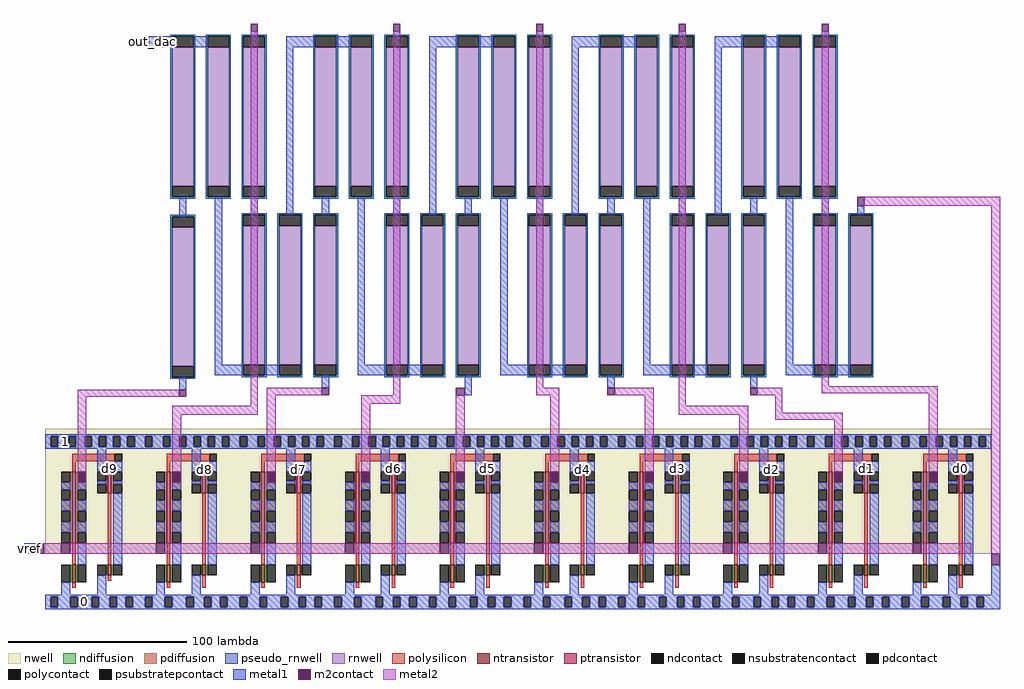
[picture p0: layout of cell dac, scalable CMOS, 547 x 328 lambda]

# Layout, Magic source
magic
tech scmos
<< nwell >>
rect -70 -199 460 -129
<< ntransistor >>
rect -55 -215 -53 -205
rect -35 -211 -33 -205
rect -2 -215 0 -205
rect 18 -211 20 -205
rect 51 -215 53 -205
rect 71 -211 73 -205
rect 104 -215 106 -205
rect 124 -211 126 -205
rect 157 -215 159 -205
rect 177 -211 179 -205
rect 210 -215 212 -205
rect 230 -211 232 -205
rect 263 -215 265 -205
rect 283 -211 285 -205
rect 316 -215 318 -205
rect 336 -211 338 -205
rect 369 -215 371 -205
rect 389 -211 391 -205
rect 422 -215 424 -205
rect 442 -211 444 -205
<< ptransistor >>
rect -55 -193 -53 -153
rect -35 -165 -33 -153
rect -2 -193 0 -153
rect 18 -165 20 -153
rect 51 -193 53 -153
rect 71 -165 73 -153
rect 104 -193 106 -153
rect 124 -165 126 -153
rect 157 -193 159 -153
rect 177 -165 179 -153
rect 210 -193 212 -153
rect 230 -165 232 -153
rect 263 -193 265 -153
rect 283 -165 285 -153
rect 316 -193 318 -153
rect 336 -165 338 -153
rect 369 -193 371 -153
rect 389 -165 391 -153
rect 422 -193 424 -153
rect 442 -165 444 -153
<< ndiffusion >>
rect -56 -215 -55 -205
rect -53 -215 -52 -205
rect -36 -211 -35 -205
rect -33 -211 -32 -205
rect -3 -215 -2 -205
rect 0 -215 1 -205
rect 17 -211 18 -205
rect 20 -211 21 -205
rect 50 -215 51 -205
rect 53 -215 54 -205
rect 70 -211 71 -205
rect 73 -211 74 -205
rect 103 -215 104 -205
rect 106 -215 107 -205
rect 123 -211 124 -205
rect 126 -211 127 -205
rect 156 -215 157 -205
rect 159 -215 160 -205
rect 176 -211 177 -205
rect 179 -211 180 -205
rect 209 -215 210 -205
rect 212 -215 213 -205
rect 229 -211 230 -205
rect 232 -211 233 -205
rect 262 -215 263 -205
rect 265 -215 266 -205
rect 282 -211 283 -205
rect 285 -211 286 -205
rect 315 -215 316 -205
rect 318 -215 319 -205
rect 335 -211 336 -205
rect 338 -211 339 -205
rect 368 -215 369 -205
rect 371 -215 372 -205
rect 388 -211 389 -205
rect 391 -211 392 -205
rect 421 -215 422 -205
rect 424 -215 425 -205
rect 441 -211 442 -205
rect 444 -211 445 -205
<< pdiffusion >>
rect -56 -159 -55 -153
rect -61 -163 -55 -159
rect -56 -169 -55 -163
rect -61 -175 -55 -169
rect -56 -181 -55 -175
rect -61 -187 -55 -181
rect -56 -193 -55 -187
rect -53 -159 -52 -153
rect -53 -163 -47 -159
rect -53 -169 -52 -163
rect -36 -158 -35 -153
rect -41 -160 -35 -158
rect -36 -165 -35 -160
rect -33 -158 -32 -153
rect -33 -160 -27 -158
rect -33 -165 -32 -160
rect -3 -159 -2 -153
rect -8 -163 -2 -159
rect -53 -175 -47 -169
rect -53 -181 -52 -175
rect -53 -187 -47 -181
rect -53 -193 -52 -187
rect -3 -169 -2 -163
rect -8 -175 -2 -169
rect -3 -181 -2 -175
rect -8 -187 -2 -181
rect -3 -193 -2 -187
rect 0 -159 1 -153
rect 0 -163 6 -159
rect 0 -169 1 -163
rect 17 -158 18 -153
rect 12 -160 18 -158
rect 17 -165 18 -160
rect 20 -158 21 -153
rect 20 -160 26 -158
rect 20 -165 21 -160
rect 50 -159 51 -153
rect 45 -163 51 -159
rect 0 -175 6 -169
rect 0 -181 1 -175
rect 0 -187 6 -181
rect 0 -193 1 -187
rect 50 -169 51 -163
rect 45 -175 51 -169
rect 50 -181 51 -175
rect 45 -187 51 -181
rect 50 -193 51 -187
rect 53 -159 54 -153
rect 53 -163 59 -159
rect 53 -169 54 -163
rect 70 -158 71 -153
rect 65 -160 71 -158
rect 70 -165 71 -160
rect 73 -158 74 -153
rect 73 -160 79 -158
rect 73 -165 74 -160
rect 103 -159 104 -153
rect 98 -163 104 -159
rect 53 -175 59 -169
rect 53 -181 54 -175
rect 53 -187 59 -181
rect 53 -193 54 -187
rect 103 -169 104 -163
rect 98 -175 104 -169
rect 103 -181 104 -175
rect 98 -187 104 -181
rect 103 -193 104 -187
rect 106 -159 107 -153
rect 106 -163 112 -159
rect 106 -169 107 -163
rect 123 -158 124 -153
rect 118 -160 124 -158
rect 123 -165 124 -160
rect 126 -158 127 -153
rect 126 -160 132 -158
rect 126 -165 127 -160
rect 156 -159 157 -153
rect 151 -163 157 -159
rect 106 -175 112 -169
rect 106 -181 107 -175
rect 106 -187 112 -181
rect 106 -193 107 -187
rect 156 -169 157 -163
rect 151 -175 157 -169
rect 156 -181 157 -175
rect 151 -187 157 -181
rect 156 -193 157 -187
rect 159 -159 160 -153
rect 159 -163 165 -159
rect 159 -169 160 -163
rect 176 -158 177 -153
rect 171 -160 177 -158
rect 176 -165 177 -160
rect 179 -158 180 -153
rect 179 -160 185 -158
rect 179 -165 180 -160
rect 209 -159 210 -153
rect 204 -163 210 -159
rect 159 -175 165 -169
rect 159 -181 160 -175
rect 159 -187 165 -181
rect 159 -193 160 -187
rect 209 -169 210 -163
rect 204 -175 210 -169
rect 209 -181 210 -175
rect 204 -187 210 -181
rect 209 -193 210 -187
rect 212 -159 213 -153
rect 212 -163 218 -159
rect 212 -169 213 -163
rect 229 -158 230 -153
rect 224 -160 230 -158
rect 229 -165 230 -160
rect 232 -158 233 -153
rect 232 -160 238 -158
rect 232 -165 233 -160
rect 262 -159 263 -153
rect 257 -163 263 -159
rect 212 -175 218 -169
rect 212 -181 213 -175
rect 212 -187 218 -181
rect 212 -193 213 -187
rect 262 -169 263 -163
rect 257 -175 263 -169
rect 262 -181 263 -175
rect 257 -187 263 -181
rect 262 -193 263 -187
rect 265 -159 266 -153
rect 265 -163 271 -159
rect 265 -169 266 -163
rect 282 -158 283 -153
rect 277 -160 283 -158
rect 282 -165 283 -160
rect 285 -158 286 -153
rect 285 -160 291 -158
rect 285 -165 286 -160
rect 315 -159 316 -153
rect 310 -163 316 -159
rect 265 -175 271 -169
rect 265 -181 266 -175
rect 265 -187 271 -181
rect 265 -193 266 -187
rect 315 -169 316 -163
rect 310 -175 316 -169
rect 315 -181 316 -175
rect 310 -187 316 -181
rect 315 -193 316 -187
rect 318 -159 319 -153
rect 318 -163 324 -159
rect 318 -169 319 -163
rect 335 -158 336 -153
rect 330 -160 336 -158
rect 335 -165 336 -160
rect 338 -158 339 -153
rect 338 -160 344 -158
rect 338 -165 339 -160
rect 368 -159 369 -153
rect 363 -163 369 -159
rect 318 -175 324 -169
rect 318 -181 319 -175
rect 318 -187 324 -181
rect 318 -193 319 -187
rect 368 -169 369 -163
rect 363 -175 369 -169
rect 368 -181 369 -175
rect 363 -187 369 -181
rect 368 -193 369 -187
rect 371 -159 372 -153
rect 371 -163 377 -159
rect 371 -169 372 -163
rect 388 -158 389 -153
rect 383 -160 389 -158
rect 388 -165 389 -160
rect 391 -158 392 -153
rect 391 -160 397 -158
rect 391 -165 392 -160
rect 421 -159 422 -153
rect 416 -163 422 -159
rect 371 -175 377 -169
rect 371 -181 372 -175
rect 371 -187 377 -181
rect 371 -193 372 -187
rect 421 -169 422 -163
rect 416 -175 422 -169
rect 421 -181 422 -175
rect 416 -187 422 -181
rect 421 -193 422 -187
rect 424 -159 425 -153
rect 424 -163 430 -159
rect 424 -169 425 -163
rect 441 -158 442 -153
rect 436 -160 442 -158
rect 441 -165 442 -160
rect 444 -158 445 -153
rect 444 -160 450 -158
rect 444 -165 445 -160
rect 424 -175 430 -169
rect 424 -181 425 -175
rect 424 -187 430 -181
rect 424 -193 425 -187
<< ndcontact >>
rect -61 -215 -56 -205
rect -52 -215 -47 -205
rect -41 -211 -36 -205
rect -32 -211 -27 -205
rect -8 -215 -3 -205
rect 1 -215 6 -205
rect 12 -211 17 -205
rect 21 -211 26 -205
rect 45 -215 50 -205
rect 54 -215 59 -205
rect 65 -211 70 -205
rect 74 -211 79 -205
rect 98 -215 103 -205
rect 107 -215 112 -205
rect 118 -211 123 -205
rect 127 -211 132 -205
rect 151 -215 156 -205
rect 160 -215 165 -205
rect 171 -211 176 -205
rect 180 -211 185 -205
rect 204 -215 209 -205
rect 213 -215 218 -205
rect 224 -211 229 -205
rect 233 -211 238 -205
rect 257 -215 262 -205
rect 266 -215 271 -205
rect 277 -211 282 -205
rect 286 -211 291 -205
rect 310 -215 315 -205
rect 319 -215 324 -205
rect 330 -211 335 -205
rect 339 -211 344 -205
rect 363 -215 368 -205
rect 372 -215 377 -205
rect 383 -211 388 -205
rect 392 -211 397 -205
rect 416 -215 421 -205
rect 425 -215 430 -205
rect 436 -211 441 -205
rect 445 -211 450 -205
<< pdcontact >>
rect -61 -159 -56 -153
rect -61 -169 -56 -163
rect -61 -181 -56 -175
rect -61 -193 -56 -187
rect -52 -159 -47 -153
rect -52 -169 -47 -163
rect -41 -158 -36 -153
rect -41 -165 -36 -160
rect -32 -158 -27 -153
rect -32 -165 -27 -160
rect -8 -159 -3 -153
rect -52 -181 -47 -175
rect -52 -193 -47 -187
rect -8 -169 -3 -163
rect -8 -181 -3 -175
rect -8 -193 -3 -187
rect 1 -159 6 -153
rect 1 -169 6 -163
rect 12 -158 17 -153
rect 12 -165 17 -160
rect 21 -158 26 -153
rect 21 -165 26 -160
rect 45 -159 50 -153
rect 1 -181 6 -175
rect 1 -193 6 -187
rect 45 -169 50 -163
rect 45 -181 50 -175
rect 45 -193 50 -187
rect 54 -159 59 -153
rect 54 -169 59 -163
rect 65 -158 70 -153
rect 65 -165 70 -160
rect 74 -158 79 -153
rect 74 -165 79 -160
rect 98 -159 103 -153
rect 54 -181 59 -175
rect 54 -193 59 -187
rect 98 -169 103 -163
rect 98 -181 103 -175
rect 98 -193 103 -187
rect 107 -159 112 -153
rect 107 -169 112 -163
rect 118 -158 123 -153
rect 118 -165 123 -160
rect 127 -158 132 -153
rect 127 -165 132 -160
rect 151 -159 156 -153
rect 107 -181 112 -175
rect 107 -193 112 -187
rect 151 -169 156 -163
rect 151 -181 156 -175
rect 151 -193 156 -187
rect 160 -159 165 -153
rect 160 -169 165 -163
rect 171 -158 176 -153
rect 171 -165 176 -160
rect 180 -158 185 -153
rect 180 -165 185 -160
rect 204 -159 209 -153
rect 160 -181 165 -175
rect 160 -193 165 -187
rect 204 -169 209 -163
rect 204 -181 209 -175
rect 204 -193 209 -187
rect 213 -159 218 -153
rect 213 -169 218 -163
rect 224 -158 229 -153
rect 224 -165 229 -160
rect 233 -158 238 -153
rect 233 -165 238 -160
rect 257 -159 262 -153
rect 213 -181 218 -175
rect 213 -193 218 -187
rect 257 -169 262 -163
rect 257 -181 262 -175
rect 257 -193 262 -187
rect 266 -159 271 -153
rect 266 -169 271 -163
rect 277 -158 282 -153
rect 277 -165 282 -160
rect 286 -158 291 -153
rect 286 -165 291 -160
rect 310 -159 315 -153
rect 266 -181 271 -175
rect 266 -193 271 -187
rect 310 -169 315 -163
rect 310 -181 315 -175
rect 310 -193 315 -187
rect 319 -159 324 -153
rect 319 -169 324 -163
rect 330 -158 335 -153
rect 330 -165 335 -160
rect 339 -158 344 -153
rect 339 -165 344 -160
rect 363 -159 368 -153
rect 319 -181 324 -175
rect 319 -193 324 -187
rect 363 -169 368 -163
rect 363 -181 368 -175
rect 363 -193 368 -187
rect 372 -159 377 -153
rect 372 -169 377 -163
rect 383 -158 388 -153
rect 383 -165 388 -160
rect 392 -158 397 -153
rect 392 -165 397 -160
rect 416 -159 421 -153
rect 372 -181 377 -175
rect 372 -193 377 -187
rect 416 -169 421 -163
rect 416 -181 421 -175
rect 416 -193 421 -187
rect 425 -159 430 -153
rect 425 -169 430 -163
rect 436 -158 441 -153
rect 436 -165 441 -160
rect 445 -158 450 -153
rect 445 -165 450 -160
rect 425 -181 430 -175
rect 425 -193 430 -187
<< psubstratepcontact >>
rect -67 -229 -63 -223
rect -56 -229 -52 -223
rect -44 -229 -40 -223
rect -34 -229 -30 -223
rect -25 -229 -21 -223
rect -14 -229 -10 -223
rect -3 -229 1 -223
rect 9 -229 13 -223
rect 19 -229 23 -223
rect 28 -229 32 -223
rect 39 -229 43 -223
rect 50 -229 54 -223
rect 62 -229 66 -223
rect 72 -229 76 -223
rect 81 -229 85 -223
rect 92 -229 96 -223
rect 103 -229 107 -223
rect 115 -229 119 -223
rect 125 -229 129 -223
rect 134 -229 138 -223
rect 145 -229 149 -223
rect 156 -229 160 -223
rect 168 -229 172 -223
rect 178 -229 182 -223
rect 187 -229 191 -223
rect 198 -229 202 -223
rect 209 -229 213 -223
rect 221 -229 225 -223
rect 231 -229 235 -223
rect 240 -229 244 -223
rect 251 -229 255 -223
rect 262 -229 266 -223
rect 274 -229 278 -223
rect 284 -229 288 -223
rect 293 -229 297 -223
rect 304 -229 308 -223
rect 315 -229 319 -223
rect 327 -229 331 -223
rect 337 -229 341 -223
rect 346 -229 350 -223
rect 357 -229 361 -223
rect 368 -229 372 -223
rect 380 -229 384 -223
rect 390 -229 394 -223
rect 399 -229 403 -223
rect 410 -229 414 -223
rect 421 -229 425 -223
rect 433 -229 437 -223
rect 443 -229 447 -223
rect 452 -229 456 -223
<< nsubstratencontact >>
rect 1 85 13 91
rect 1 1 13 7
rect 21 85 33 91
rect 21 1 33 7
rect 41 85 53 91
rect 41 1 53 7
rect 81 85 93 91
rect 81 1 93 7
rect 101 85 113 91
rect 101 1 113 7
rect 121 85 133 91
rect 121 1 133 7
rect 161 85 173 91
rect 161 1 173 7
rect 181 85 193 91
rect 181 1 193 7
rect 201 85 213 91
rect 201 1 213 7
rect 241 85 253 91
rect 241 1 253 7
rect 261 85 273 91
rect 261 1 273 7
rect 281 85 293 91
rect 281 1 293 7
rect 321 85 333 91
rect 321 1 333 7
rect 341 85 353 91
rect 341 1 353 7
rect 361 85 373 91
rect 361 1 373 7
rect 1 -16 13 -10
rect 1 -100 13 -94
rect 41 -15 53 -9
rect 41 -99 53 -93
rect 61 -15 73 -9
rect 61 -99 73 -93
rect 81 -15 93 -9
rect 81 -99 93 -93
rect 121 -15 133 -9
rect 121 -99 133 -93
rect 141 -15 153 -9
rect 141 -99 153 -93
rect 161 -15 173 -9
rect 161 -99 173 -93
rect 201 -15 213 -9
rect 201 -99 213 -93
rect 221 -15 233 -9
rect 221 -99 233 -93
rect 241 -15 253 -9
rect 241 -99 253 -93
rect 281 -15 293 -9
rect 281 -99 293 -93
rect 301 -15 313 -9
rect 301 -99 313 -93
rect 321 -15 333 -9
rect 321 -99 333 -93
rect 361 -15 373 -9
rect 361 -99 373 -93
rect 381 -15 393 -9
rect 381 -99 393 -93
rect -67 -139 -63 -133
rect -57 -139 -53 -133
rect -48 -139 -44 -133
rect -40 -139 -36 -133
rect -32 -139 -28 -133
rect -24 -139 -20 -133
rect -14 -139 -10 -133
rect -4 -139 0 -133
rect 5 -139 9 -133
rect 13 -139 17 -133
rect 21 -139 25 -133
rect 29 -139 33 -133
rect 39 -139 43 -133
rect 49 -139 53 -133
rect 58 -139 62 -133
rect 66 -139 70 -133
rect 74 -139 78 -133
rect 82 -139 86 -133
rect 92 -139 96 -133
rect 102 -139 106 -133
rect 111 -139 115 -133
rect 119 -139 123 -133
rect 127 -139 131 -133
rect 135 -139 139 -133
rect 145 -139 149 -133
rect 155 -139 159 -133
rect 164 -139 168 -133
rect 172 -139 176 -133
rect 180 -139 184 -133
rect 188 -139 192 -133
rect 198 -139 202 -133
rect 208 -139 212 -133
rect 217 -139 221 -133
rect 225 -139 229 -133
rect 233 -139 237 -133
rect 241 -139 245 -133
rect 251 -139 255 -133
rect 261 -139 265 -133
rect 270 -139 274 -133
rect 278 -139 282 -133
rect 286 -139 290 -133
rect 294 -139 298 -133
rect 304 -139 308 -133
rect 314 -139 318 -133
rect 323 -139 327 -133
rect 331 -139 335 -133
rect 339 -139 343 -133
rect 347 -139 351 -133
rect 357 -139 361 -133
rect 367 -139 371 -133
rect 376 -139 380 -133
rect 384 -139 388 -133
rect 392 -139 396 -133
rect 400 -139 404 -133
rect 410 -139 414 -133
rect 420 -139 424 -133
rect 429 -139 433 -133
rect 437 -139 441 -133
rect 445 -139 449 -133
rect 453 -139 457 -133
<< polysilicon >>
rect -55 -147 -31 -143
rect -2 -147 22 -143
rect 51 -147 75 -143
rect 104 -147 128 -143
rect 157 -147 181 -143
rect 210 -147 234 -143
rect 263 -147 287 -143
rect 316 -147 340 -143
rect 369 -147 393 -143
rect 422 -147 446 -143
rect -55 -153 -53 -147
rect -35 -153 -33 -150
rect -2 -153 0 -147
rect 18 -153 20 -150
rect 51 -153 53 -147
rect 71 -153 73 -150
rect 104 -153 106 -147
rect 124 -153 126 -150
rect 157 -153 159 -147
rect 177 -153 179 -150
rect 210 -153 212 -147
rect 230 -153 232 -150
rect 263 -153 265 -147
rect 283 -153 285 -150
rect 316 -153 318 -147
rect 336 -153 338 -150
rect 369 -153 371 -147
rect 389 -153 391 -150
rect 422 -153 424 -147
rect 442 -153 444 -150
rect -55 -205 -53 -193
rect -35 -205 -33 -165
rect -2 -205 0 -193
rect 18 -205 20 -165
rect 51 -205 53 -193
rect 71 -205 73 -165
rect 104 -205 106 -193
rect 124 -205 126 -165
rect 157 -205 159 -193
rect 177 -205 179 -165
rect 210 -205 212 -193
rect 230 -205 232 -165
rect 263 -205 265 -193
rect 283 -205 285 -165
rect 316 -205 318 -193
rect 336 -205 338 -165
rect 369 -205 371 -193
rect 389 -205 391 -165
rect 422 -205 424 -193
rect 442 -205 444 -165
rect -35 -214 -33 -211
rect -55 -218 -53 -215
rect -2 -218 0 -215
rect 18 -218 20 -211
rect 51 -218 53 -215
rect 71 -218 73 -211
rect 104 -218 106 -215
rect 124 -218 126 -211
rect 157 -218 159 -215
rect 177 -218 179 -211
rect 210 -218 212 -215
rect 230 -218 232 -211
rect 263 -218 265 -215
rect 283 -218 285 -211
rect 316 -218 318 -215
rect 336 -218 338 -211
rect 369 -218 371 -215
rect 389 -218 391 -211
rect 422 -218 424 -215
rect 442 -218 444 -211
<< polycontact >>
rect -31 -147 -27 -143
rect 22 -147 26 -143
rect 75 -147 79 -143
rect 128 -147 132 -143
rect 181 -147 185 -143
rect 234 -147 238 -143
rect 287 -147 291 -143
rect 340 -147 344 -143
rect 393 -147 397 -143
rect 446 -147 450 -143
<< metal1 >>
rect 45 91 49 94
rect 125 91 129 94
rect 205 91 209 94
rect 285 91 289 94
rect 365 91 369 94
rect -12 85 1 91
rect 13 85 21 91
rect 65 85 81 91
rect 93 85 101 91
rect 145 85 161 91
rect 173 85 181 91
rect 225 85 241 91
rect 253 85 261 91
rect 305 85 321 91
rect 333 85 341 91
rect 5 -10 9 1
rect 25 -93 29 1
rect 45 -9 49 1
rect 65 -9 69 85
rect 85 -9 89 1
rect 105 -93 109 1
rect 125 -9 129 1
rect 145 -9 149 85
rect 165 -9 169 1
rect 185 -93 189 1
rect 205 -9 209 1
rect 225 -9 229 85
rect 245 -9 249 1
rect 265 -93 269 1
rect 285 -9 289 1
rect 305 -9 309 85
rect 325 -9 329 1
rect 345 -93 349 1
rect 365 -9 369 1
rect 385 -9 389 -4
rect 25 -99 41 -93
rect 53 -99 61 -93
rect 105 -99 121 -93
rect 133 -99 141 -93
rect 185 -99 201 -93
rect 213 -99 221 -93
rect 265 -99 281 -93
rect 293 -99 301 -93
rect 345 -99 361 -93
rect 373 -99 381 -93
rect 5 -107 9 -100
rect 85 -106 89 -99
rect 165 -110 169 -99
rect 245 -106 249 -99
rect 325 -106 329 -99
rect -70 -133 460 -132
rect -70 -139 -67 -133
rect -63 -139 -57 -133
rect -53 -139 -48 -133
rect -44 -139 -40 -133
rect -36 -139 -32 -133
rect -28 -139 -24 -133
rect -20 -139 -14 -133
rect -10 -139 -4 -133
rect 0 -139 5 -133
rect 9 -139 13 -133
rect 17 -139 21 -133
rect 25 -139 29 -133
rect 33 -139 39 -133
rect 43 -139 49 -133
rect 53 -139 58 -133
rect 62 -139 66 -133
rect 70 -139 74 -133
rect 78 -139 82 -133
rect 86 -139 92 -133
rect 96 -139 102 -133
rect 106 -139 111 -133
rect 115 -139 119 -133
rect 123 -139 127 -133
rect 131 -139 135 -133
rect 139 -139 145 -133
rect 149 -139 155 -133
rect 159 -139 164 -133
rect 168 -139 172 -133
rect 176 -139 180 -133
rect 184 -139 188 -133
rect 192 -139 198 -133
rect 202 -139 208 -133
rect 212 -139 217 -133
rect 221 -139 225 -133
rect 229 -139 233 -133
rect 237 -139 241 -133
rect 245 -139 251 -133
rect 255 -139 261 -133
rect 265 -139 270 -133
rect 274 -139 278 -133
rect 282 -139 286 -133
rect 290 -139 294 -133
rect 298 -139 304 -133
rect 308 -139 314 -133
rect 318 -139 323 -133
rect 327 -139 331 -133
rect 335 -139 339 -133
rect 343 -139 347 -133
rect 351 -139 357 -133
rect 361 -139 367 -133
rect 371 -139 376 -133
rect 380 -139 384 -133
rect 388 -139 392 -133
rect 396 -139 400 -133
rect 404 -139 410 -133
rect 414 -139 420 -133
rect 424 -139 429 -133
rect 433 -139 437 -133
rect 441 -139 445 -133
rect 449 -139 453 -133
rect 457 -139 460 -133
rect -70 -140 460 -139
rect -41 -153 -36 -140
rect -31 -153 -27 -147
rect 12 -153 17 -140
rect 22 -153 26 -147
rect 65 -153 70 -140
rect 75 -153 79 -147
rect 118 -153 123 -140
rect 128 -153 132 -147
rect 171 -153 176 -140
rect 181 -153 185 -147
rect 224 -153 229 -140
rect 234 -153 238 -147
rect 277 -153 282 -140
rect 287 -153 291 -147
rect 330 -153 335 -140
rect 340 -153 344 -147
rect 383 -153 388 -140
rect 393 -153 397 -147
rect 436 -153 441 -140
rect 446 -153 450 -147
rect -61 -163 -56 -159
rect -61 -175 -56 -169
rect -61 -187 -56 -181
rect -82 -199 -76 -193
rect -52 -163 -47 -159
rect -41 -160 -36 -158
rect -32 -160 -27 -158
rect -52 -175 -47 -169
rect -52 -187 -47 -181
rect -52 -205 -47 -193
rect -32 -205 -27 -165
rect -8 -163 -3 -159
rect -8 -175 -3 -169
rect -8 -187 -3 -181
rect 1 -163 6 -159
rect 12 -160 17 -158
rect 21 -160 26 -158
rect 1 -175 6 -169
rect 1 -187 6 -181
rect 1 -205 6 -193
rect 21 -205 26 -165
rect 45 -163 50 -159
rect 45 -175 50 -169
rect 45 -187 50 -181
rect 54 -163 59 -159
rect 65 -160 70 -158
rect 74 -160 79 -158
rect 54 -175 59 -169
rect 54 -187 59 -181
rect 54 -205 59 -193
rect 74 -205 79 -165
rect 98 -163 103 -159
rect 98 -175 103 -169
rect 98 -187 103 -181
rect 107 -163 112 -159
rect 118 -160 123 -158
rect 127 -160 132 -158
rect 107 -175 112 -169
rect 107 -187 112 -181
rect 107 -205 112 -193
rect 127 -205 132 -165
rect 151 -163 156 -159
rect 151 -175 156 -169
rect 151 -187 156 -181
rect 160 -163 165 -159
rect 171 -160 176 -158
rect 180 -160 185 -158
rect 160 -175 165 -169
rect 160 -187 165 -181
rect 160 -205 165 -193
rect 180 -205 185 -165
rect 204 -163 209 -159
rect 204 -175 209 -169
rect 204 -187 209 -181
rect 213 -163 218 -159
rect 224 -160 229 -158
rect 233 -160 238 -158
rect 213 -175 218 -169
rect 213 -187 218 -181
rect 213 -205 218 -193
rect 233 -205 238 -165
rect 257 -163 262 -159
rect 257 -175 262 -169
rect 257 -187 262 -181
rect 266 -163 271 -159
rect 277 -160 282 -158
rect 286 -160 291 -158
rect 266 -175 271 -169
rect 266 -187 271 -181
rect 266 -205 271 -193
rect 286 -205 291 -165
rect 310 -163 315 -159
rect 310 -175 315 -169
rect 310 -187 315 -181
rect 319 -163 324 -159
rect 330 -160 335 -158
rect 339 -160 344 -158
rect 319 -175 324 -169
rect 319 -187 324 -181
rect 319 -205 324 -193
rect 339 -205 344 -165
rect 363 -163 368 -159
rect 363 -175 368 -169
rect 363 -187 368 -181
rect 372 -163 377 -159
rect 383 -160 388 -158
rect 392 -160 397 -158
rect 372 -175 377 -169
rect 372 -187 377 -181
rect 372 -205 377 -193
rect 392 -205 397 -165
rect 416 -163 421 -159
rect 416 -175 421 -169
rect 416 -187 421 -181
rect 425 -163 430 -159
rect 436 -160 441 -158
rect 445 -160 450 -158
rect 425 -175 430 -169
rect 425 -187 430 -181
rect 425 -205 430 -193
rect 445 -205 450 -165
rect -61 -222 -56 -215
rect -41 -222 -36 -211
rect -8 -222 -3 -215
rect 12 -222 17 -211
rect 45 -222 50 -215
rect 65 -222 70 -211
rect 98 -222 103 -215
rect 118 -222 123 -211
rect 151 -222 156 -215
rect 171 -222 176 -211
rect 204 -222 209 -215
rect 224 -222 229 -211
rect 257 -222 262 -215
rect 277 -222 282 -211
rect 310 -222 315 -215
rect 330 -222 335 -211
rect 363 -222 368 -215
rect 383 -222 388 -211
rect 416 -222 421 -215
rect 436 -222 441 -211
rect 460 -222 465 -205
rect -70 -223 465 -222
rect -70 -229 -67 -223
rect -63 -229 -56 -223
rect -52 -229 -44 -223
rect -40 -229 -34 -223
rect -30 -229 -25 -223
rect -21 -229 -14 -223
rect -10 -229 -3 -223
rect 1 -229 9 -223
rect 13 -229 19 -223
rect 23 -229 28 -223
rect 32 -229 39 -223
rect 43 -229 50 -223
rect 54 -229 62 -223
rect 66 -229 72 -223
rect 76 -229 81 -223
rect 85 -229 92 -223
rect 96 -229 103 -223
rect 107 -229 115 -223
rect 119 -229 125 -223
rect 129 -229 134 -223
rect 138 -229 145 -223
rect 149 -229 156 -223
rect 160 -229 168 -223
rect 172 -229 178 -223
rect 182 -229 187 -223
rect 191 -229 198 -223
rect 202 -229 209 -223
rect 213 -229 221 -223
rect 225 -229 231 -223
rect 235 -229 240 -223
rect 244 -229 251 -223
rect 255 -229 262 -223
rect 266 -229 274 -223
rect 278 -229 284 -223
rect 288 -229 293 -223
rect 297 -229 304 -223
rect 308 -229 315 -223
rect 319 -229 327 -223
rect 331 -229 337 -223
rect 341 -229 346 -223
rect 350 -229 357 -223
rect 361 -229 368 -223
rect 372 -229 380 -223
rect 384 -229 390 -223
rect 394 -229 399 -223
rect 403 -229 410 -223
rect 414 -229 421 -223
rect 425 -229 433 -223
rect 437 -229 443 -223
rect 447 -229 452 -223
rect 456 -229 465 -223
rect -70 -230 465 -229
<< m2contact >>
rect 45 94 49 98
rect 125 94 129 98
rect 205 94 209 98
rect 285 94 289 98
rect 365 94 369 98
rect 385 -4 389 1
rect 5 -111 9 -107
rect 85 -110 89 -106
rect 160 -110 165 -106
rect 245 -110 249 -106
rect 325 -110 329 -106
rect -76 -199 -71 -193
rect -61 -199 -56 -193
rect -52 -159 -47 -153
rect -8 -199 -3 -193
rect 1 -159 6 -153
rect 45 -199 50 -193
rect 54 -159 59 -153
rect 98 -199 103 -193
rect 107 -159 112 -153
rect 151 -199 156 -193
rect 160 -159 165 -153
rect 204 -199 209 -193
rect 213 -159 218 -153
rect 257 -199 262 -193
rect 266 -159 271 -153
rect 310 -199 315 -193
rect 319 -159 324 -153
rect 363 -199 368 -193
rect 372 -159 377 -153
rect 416 -199 421 -193
rect 425 -159 430 -153
rect 460 -205 465 -199
<< metal2 >>
rect -52 -111 5 -107
rect -52 -153 -47 -111
rect 45 -116 49 94
rect 1 -121 49 -116
rect 54 -110 85 -106
rect 125 -110 129 94
rect 205 -106 209 94
rect 1 -153 6 -121
rect 54 -153 59 -110
rect 107 -115 129 -110
rect 205 -110 218 -106
rect 249 -110 271 -106
rect 107 -153 112 -115
rect 160 -153 165 -110
rect 213 -153 218 -110
rect 266 -153 271 -110
rect 285 -116 289 94
rect 365 -105 369 94
rect 389 -4 465 1
rect 329 -110 343 -106
rect 365 -109 430 -105
rect 285 -121 324 -116
rect 319 -153 324 -121
rect 339 -120 343 -110
rect 339 -124 377 -120
rect 372 -153 377 -124
rect 425 -153 430 -109
rect -71 -199 -61 -193
rect -56 -199 -8 -193
rect -3 -199 45 -193
rect 50 -199 98 -193
rect 103 -199 151 -193
rect 156 -199 204 -193
rect 209 -199 257 -193
rect 262 -199 310 -193
rect 315 -199 363 -193
rect 368 -199 416 -193
rect 421 -199 449 -193
rect 460 -199 465 -4
<< pseudo_rnwell >>
rect 0 91 14 92
rect 0 1 1 91
rect 13 1 14 91
rect 0 0 14 1
rect 20 91 34 92
rect 20 1 21 91
rect 33 1 34 91
rect 20 0 34 1
rect 40 91 54 92
rect 40 1 41 91
rect 53 1 54 91
rect 40 0 54 1
rect 80 91 94 92
rect 80 1 81 91
rect 93 1 94 91
rect 80 0 94 1
rect 100 91 114 92
rect 100 1 101 91
rect 113 1 114 91
rect 100 0 114 1
rect 120 91 134 92
rect 120 1 121 91
rect 133 1 134 91
rect 120 0 134 1
rect 160 91 174 92
rect 160 1 161 91
rect 173 1 174 91
rect 160 0 174 1
rect 180 91 194 92
rect 180 1 181 91
rect 193 1 194 91
rect 180 0 194 1
rect 200 91 214 92
rect 200 1 201 91
rect 213 1 214 91
rect 200 0 214 1
rect 240 91 254 92
rect 240 1 241 91
rect 253 1 254 91
rect 240 0 254 1
rect 260 91 274 92
rect 260 1 261 91
rect 273 1 274 91
rect 260 0 274 1
rect 280 91 294 92
rect 280 1 281 91
rect 293 1 294 91
rect 280 0 294 1
rect 320 91 334 92
rect 320 1 321 91
rect 333 1 334 91
rect 320 0 334 1
rect 340 91 354 92
rect 340 1 341 91
rect 353 1 354 91
rect 340 0 354 1
rect 360 91 374 92
rect 360 1 361 91
rect 373 1 374 91
rect 360 0 374 1
rect 40 -9 54 -8
rect 0 -10 14 -9
rect 0 -100 1 -10
rect 13 -100 14 -10
rect 40 -99 41 -9
rect 53 -99 54 -9
rect 40 -100 54 -99
rect 60 -9 74 -8
rect 60 -99 61 -9
rect 73 -99 74 -9
rect 60 -100 74 -99
rect 80 -9 94 -8
rect 80 -99 81 -9
rect 93 -99 94 -9
rect 80 -100 94 -99
rect 120 -9 134 -8
rect 120 -99 121 -9
rect 133 -99 134 -9
rect 120 -100 134 -99
rect 140 -9 154 -8
rect 140 -99 141 -9
rect 153 -99 154 -9
rect 140 -100 154 -99
rect 160 -9 174 -8
rect 160 -99 161 -9
rect 173 -99 174 -9
rect 160 -100 174 -99
rect 200 -9 214 -8
rect 200 -99 201 -9
rect 213 -99 214 -9
rect 200 -100 214 -99
rect 220 -9 234 -8
rect 220 -99 221 -9
rect 233 -99 234 -9
rect 220 -100 234 -99
rect 240 -9 254 -8
rect 240 -99 241 -9
rect 253 -99 254 -9
rect 240 -100 254 -99
rect 280 -9 294 -8
rect 280 -99 281 -9
rect 293 -99 294 -9
rect 280 -100 294 -99
rect 300 -9 314 -8
rect 300 -99 301 -9
rect 313 -99 314 -9
rect 300 -100 314 -99
rect 320 -9 334 -8
rect 320 -99 321 -9
rect 333 -99 334 -9
rect 320 -100 334 -99
rect 360 -9 374 -8
rect 360 -99 361 -9
rect 373 -99 374 -9
rect 360 -100 374 -99
rect 380 -9 394 -8
rect 380 -99 381 -9
rect 393 -99 394 -9
rect 380 -100 394 -99
rect 0 -101 14 -100
<< rnwell >>
rect 1 7 13 85
rect 21 7 33 85
rect 41 7 53 85
rect 81 7 93 85
rect 101 7 113 85
rect 121 7 133 85
rect 161 7 173 85
rect 181 7 193 85
rect 201 7 213 85
rect 241 7 253 85
rect 261 7 273 85
rect 281 7 293 85
rect 321 7 333 85
rect 341 7 353 85
rect 361 7 373 85
rect 1 -94 13 -16
rect 41 -93 53 -15
rect 61 -93 73 -15
rect 81 -93 93 -15
rect 121 -93 133 -15
rect 141 -93 153 -15
rect 161 -93 173 -15
rect 201 -93 213 -15
rect 221 -93 233 -15
rect 241 -93 253 -15
rect 281 -93 293 -15
rect 301 -93 313 -15
rect 321 -93 333 -15
rect 361 -93 373 -15
rect 381 -93 393 -15
<< labels >>
rlabel polysilicon -34 -151 -34 -151 1 d9
rlabel polysilicon 19 -152 19 -152 1 d8
rlabel polysilicon 72 -152 72 -152 1 d7
rlabel polysilicon 125 -151 125 -151 1 d6
rlabel polysilicon 178 -151 178 -151 1 d5
rlabel polysilicon 231 -152 231 -152 1 d4
rlabel polysilicon 284 -151 284 -151 1 d3
rlabel polysilicon 337 -152 337 -152 1 d2
rlabel polysilicon 390 -151 390 -151 1 d1
rlabel polysilicon 443 -151 443 -151 1 d0
rlabel metal1 -59 -136 -59 -136 1 1
rlabel metal1 -48 -226 -48 -226 1 0
rlabel metal1 -10 88 -10 88 1 out_dac
rlabel metal1 -79 -196 -79 -196 3 vref
<< end >>
